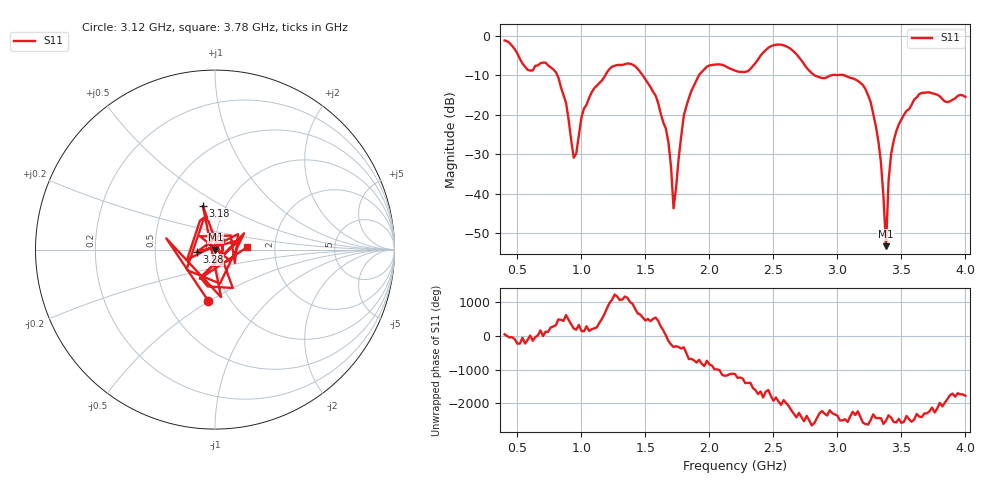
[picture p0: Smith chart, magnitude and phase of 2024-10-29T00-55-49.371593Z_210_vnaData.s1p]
!Created with skrf (http://scikit-rf.org).
# Hz S RI R 50.0
!freq ReS11 ImS11
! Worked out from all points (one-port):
!   181 points, 400 MHz to 4 GHz, reference 50 ohm
!   lowest |S11| = -53.3 dB at 3.38 GHz (marker M1), VSWR 1.00, Z = 50.2 + j0.0063 ohm
!   |S11| at or under -10 dB: 811.2 MHz to 1.188 GHz (376.6 MHz wide, 37.7 % of centre); 1.478 GHz to 1.919 GHz (440.8 MHz wide, 26 % of centre); 3.047 GHz to end of sweep (the widest 3 of 5)
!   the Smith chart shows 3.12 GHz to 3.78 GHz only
!   S11 on the Smith chart (normalised r, x): 3.12 GHz: 0.79, -0.49; 3.18 GHz: 0.78, +0.41; 3.28 GHz: 0.82, -0.02; 3.78 GHz: 1.43, +0.04
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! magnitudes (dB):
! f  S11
! 400 MHz  -1.2
! 580 MHz  -8.7
! 780 MHz  -8.5
! 860 MHz  -15.1
! 940 MHz  -30.9
! 1.08 GHz  -14.4
! 1.3 GHz  -7.4
! 1.58 GHz  -15.2
! 1.68 GHz  -27.0
! 1.72 GHz  -43.7
! 1.76 GHz  -31.0
! 1.8 GHz  -20.3
! 1.92 GHz  -9.9
! 2.2 GHz  -8.9
! 2.5 GHz  -2.5
! 2.66 GHz  -4.1
! 2.82 GHz  -10.1
! 3.1 GHz  -10.7
! 3.12 GHz  -10.8
! 3.18 GHz  -12.0
! 3.28 GHz  -19.8
! 3.34 GHz  -32.0
! 3.38 GHz  -53.3
! 3.4 GHz  -36.6
! 3.42 GHz  -29.9
! 3.56 GHz  -18.6
! 3.78 GHz  -15.0
! 4 GHz  -15.5
